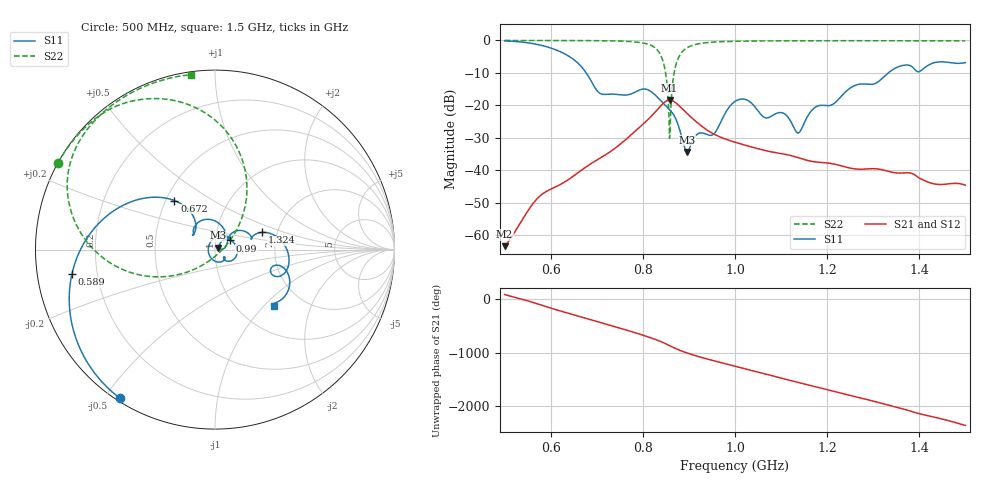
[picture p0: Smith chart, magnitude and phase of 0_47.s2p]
! TOUCHSTONE file generated by CST MICROWAVE STUDIO
! Date and time: Mon Sep 28 15:35:55 2020
! Project name: Scenario_1_Free_SPace.cst
! Parameters = {dx1=970; L_HA=400; MT=2.54; Rad_Dielectric=30; Rad_Lower=7.3; Rad_Upper=30; a_HA=580; a_WG=246; b_HA=500; b_WG=121; c_HA=0; c_WG=187; d_feed=85; h_feed=15; h_lower=18; h_upper=40}
! Header version: 2018
! Port assignment regex: !\s*Touchstone port\s*([0-9]+)\s*=\s*(CST MWS port|CST DS port)\s*([0-9]+|Zmin|Zmax)\s*\(\"(.*)\"\)(\s*mode\s*([0-9]+))?.*
! Touchstone port assignment:
! Touchstone port 1 = CST MWS port 1 ("")
! Touchstone port 2 = CST MWS port 2 ("")
# GHz S DB R 50
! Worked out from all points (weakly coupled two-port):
!   1003 points, 500 MHz to 1.5 GHz, reference 50 ohm
!   highest |S21| = -18.35 dB at 858 MHz (marker M1); lowest = -63.4 dB at 500 MHz (marker M2)
!   lowest |S11| = -34.4 dB at 896 MHz (marker M3), VSWR 1.04, Z = 51.7 + j1.03 ohm
!   |S11| at or under -10 dB: 677.1 MHz to 1.333 GHz (655.5 MHz wide, 65.2 % of centre)
!   |S22| runs from -30.1 to 0.0 dB; largest |S21 - S12| = 8.5e-06
!   S11 on the Smith chart (normalised r, x): 500 MHz: 0.01, -0.55; 589 MHz: 0.11, -0.08; 672 MHz: 0.55, +0.35; 990 MHz: 1.18, +0.12; 1.324 GHz: 1.66, +0.35; 1.5 GHz: 1.43, -1.14
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0.5  -0.15 -122.6  -63.36 85.4  -63.36 85.4  -0.01 151.1
0.589  -1.85 -170.4  -46.63 -138.0  -46.63 -138.0  -0.02 144.9
0.667  -8.14 133.2  -39.93 24.6  -39.93 24.6  -0.04 138.3
0.672  -9.00 129.7  -39.43 11.8  -39.43 11.8  -0.05 137.8
0.71  -16.51 138.5  -36.00 -84.2  -36.00 -84.2  -0.09 133.5
0.788  -15.58 135.4  -27.36 80.7  -27.36 80.7  -0.54 117.6
0.834  -17.81 69.2  -20.88 -53.7  -20.88 -53.8  -3.39 85.9
0.847  -19.70 52.4  -19.01 -101.9  -19.01 -101.9  -8.22 62.7
0.858  -21.30 37.7  -18.35 -148.0  -18.35 -148.0  -30.13 -23.4
0.873  -24.63 12.4  -19.39 151.5  -19.39 151.5  -6.91 -162.1
0.896  -34.36 31.4  -22.48 76.0  -22.48 76.0  -2.27 171.3
0.919  -28.79 44.6  -25.42 13.4  -25.42 13.4  -1.08 158.7
0.955  -28.66 44.4  -28.89 -71.3  -28.89 -71.3  -0.49 147.9
0.99  -20.06 31.0  -30.90 -149.0  -30.90 -149.0  -0.29 141.7
1  -18.77 16.1  -31.35 -171.2  -31.35 -171.2  -0.26 140.2
1.066  -23.83 -41.4  -33.92 43.0  -33.92 43.0  -0.15 132.8
1.105  -22.40 -65.0  -34.97 -42.4  -34.97 -42.4  -0.12 129.3
1.136  -28.50 -176.6  -36.06 -111.9  -36.06 -111.9  -0.10 126.6
1.167  -21.47 69.7  -37.25 -176.9  -37.25 -176.9  -0.09 124.2
1.324  -11.09 20.1  -39.97 -158.5  -39.97 -158.5  -0.09 112.2
1.334  -9.84 16.1  -40.34 178.9  -40.34 178.9  -0.09 111.4
1.5  -6.84 -44.1  -44.58 164.3  -44.57 164.2  -0.14 97.9
